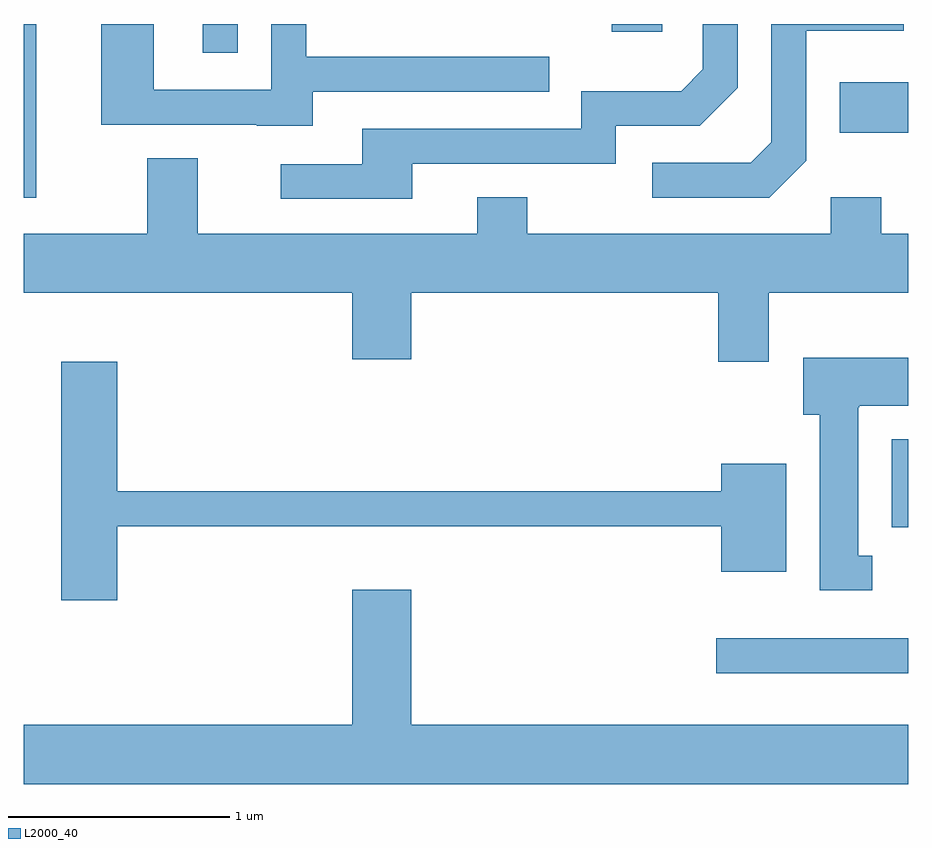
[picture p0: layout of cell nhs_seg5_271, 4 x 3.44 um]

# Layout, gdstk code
import gdstk
lib = gdstk.Library(unit=1e-6, precision=1e-09)
def R(c, l, rs):  # rectangles x0, y0, x1, y1
    for r in rs: c.add(gdstk.rectangle(r[:2], r[2:], *l))
def P(c, l, *ps):  # polygons
    for p in ps: c.add(gdstk.Polygon(p, *l))
L2000_40 = (2000, 40)

nhs_seg5_271 = lib.new_cell('nhs_seg5_271')
R(nhs_seg5_271, L2000_40, [(196.743,1395.136,197.611,1395.294), (197.536,1395.796,197.611,1396.194), (193.611,1397.286,193.669,1398.072), (197.301,1397.581,197.611,1397.809), (194.421,1397.943,194.579,1398.072), (196.271,1398.036,196.499,1398.072)])
P(nhs_seg5_271, L2000_40, [(194.919,1397.766),(195.988,1397.766),(195.988,1397.924),(194.889,1397.924),(194.889,1398.072),(194.731,1398.072),(194.731,1397.774),(194.199,1397.774),(194.199,1398.072),(193.961,1398.072),(193.961,1397.616),(194.665,1397.616),(194.665,1397.611),(194.919,1397.611)],
  [(197.149,1397.454),(197.149,1398.041),(197.589,1398.041),(197.589,1398.072),(196.991,1398.072),(196.991,1397.537),(196.899,1397.444),(196.453,1397.444),(196.453,1397.286),(196.982,1397.286)],
  [(195.369,1397.441),(196.289,1397.441),(196.289,1397.611),(196.667,1397.611),(196.839,1397.784),(196.839,1398.072),(196.681,1398.072),(196.681,1397.867),(196.584,1397.769),(196.131,1397.769),(196.131,1397.599),(195.141,1397.599),(195.141,1397.439),(194.773,1397.439),(194.773,1397.281),(195.369,1397.281)],
  [(196.979,1396.856),(197.611,1396.856),(197.611,1397.124),(197.489,1397.124),(197.489,1397.289),(197.261,1397.289),(197.261,1397.124),(195.889,1397.124),(195.889,1397.289),(195.661,1397.289),(195.661,1397.124),(194.399,1397.124),(194.399,1397.464),(194.171,1397.464),(194.171,1397.124),(193.611,1397.124),(193.611,1396.856),(195.096,1396.856),(195.096,1396.556),(195.364,1396.556),(195.364,1396.856),(196.751,1396.856),(196.751,1396.546),(196.979,1396.546)],
  [(197.448,1395.669),(197.384,1395.669),(197.384,1396.34),(197.39,1396.34),(197.39,1396.346),(197.611,1396.346),(197.611,1396.564),(197.136,1396.564),(197.136,1396.306),(197.211,1396.306),(197.211,1395.511),(197.448,1395.511)],
  [(194.034,1395.801),(196.766,1395.801),(196.766,1395.596),(197.059,1395.596),(197.059,1396.084),(196.766,1396.084),(196.766,1395.959),(194.034,1395.959),(194.034,1396.544),(193.781,1396.544),(193.781,1395.466),(194.034,1395.466)],
  [(197.611,1394.904),(195.364,1394.904),(195.364,1395.514),(195.096,1395.514),(195.096,1394.904),(193.611,1394.904),(193.611,1394.636),(197.611,1394.636)])

lib.write_gds('nhs_seg5_271.gds')
